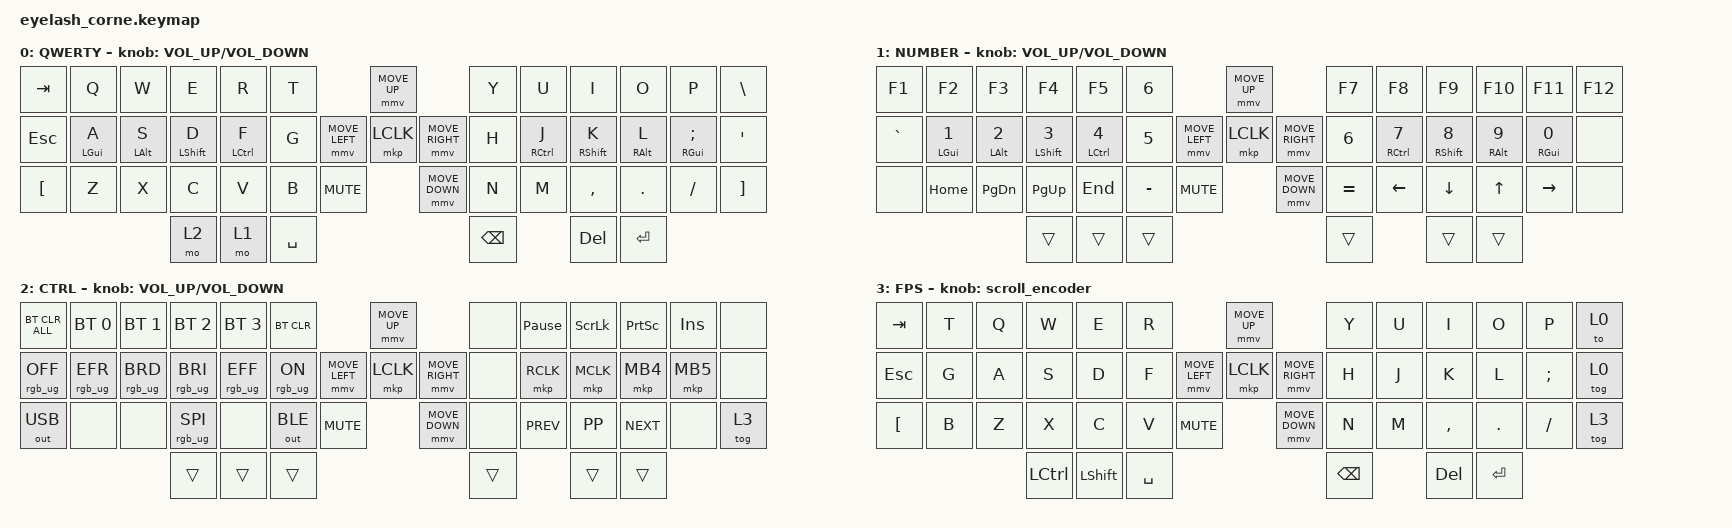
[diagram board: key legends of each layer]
#define ZMK_POINTING_DEFAULT_MOVE_VAL 300  // 600
#define ZMK_POINTING_DEFAULT_SCRL_VAL 10   // 10

#include <input/processors.dtsi>
#include <zephyr/dt-bindings/input/input-event-codes.h>
#include <behaviors.dtsi>
#include <dt-bindings/zmk/bt.h>
#include <dt-bindings/zmk/keys.h>
#include <dt-bindings/zmk/outputs.h>
#include <dt-bindings/zmk/pointing.h>
#include <dt-bindings/zmk/rgb.h>

&mmv_input_listener { input-processors = <&zip_xy_scaler 2 1>; };

&msc_input_listener { input-processors = <&zip_scroll_scaler 2 1>; };

&msc {
    acceleration-exponent = <0>;      // 0
    time-to-max-speed-ms = <100>;       // 300
    delay-ms = <0>;                   // 0
};

&mmv {
    time-to-max-speed-ms = <500>;
    acceleration-exponent = <0>;
    trigger-period-ms = <16>;
};

/ {
    behaviors {
        td0: td0 {
            compatible = "zmk,behavior-tap-dance";
            display-name = "Shift/Caps Lock Tap Dance";
            #binding-cells = <0>;
            bindings = <&kp LEFT_SHIFT>, <&kp CAPS>;
        };

        hml: hml {
            compatible = "zmk,behavior-hold-tap";
            label = "HML";
            bindings = <&kp>, <&kp>;

            #binding-cells = <2>;
            tapping-term-ms = <250>;
            quick-tap-ms = <150>;
            require-prior-idle-ms = <100>;
            flavor = "balanced";
            hold-trigger-key-positions = <7 8 9 10 11 12 22 23 24 25 26 27 36 37 38 39 40 41 45 46 47 42 43 44>;
            hold-trigger-on-release;
        };

        hmr: hmr {
            compatible = "zmk,behavior-hold-tap";
            label = "HMR";
            bindings = <&kp>, <&kp>;

            #binding-cells = <2>;
            tapping-term-ms = <250>;
            quick-tap-ms = <150>;
            require-prior-idle-ms = <100>;
            flavor = "balanced";
            hold-trigger-on-release;
            hold-trigger-key-positions = <0 1 2 3 4 5 13 14 15 16 17 18 28 29 30 31 32 33 34 42 43 44 45 46 47>;
        };
    };

    rgb_encoder: rgb_encoder {
        compatible = "zmk,behavior-sensor-rotate";
        #sensor-binding-cells = <0>;
        bindings = <&rgb_ug RGB_BRI>, <&rgb_ug RGB_BRD>;
    };

    scroll_encoder: scroll_encoder {
        compatible = "zmk,behavior-sensor-rotate";
        #sensor-binding-cells = <0>;
        bindings = <&msc SCRL_DOWN>, <&msc SCRL_UP>;

        tap-ms = <100>;
    };

    keymap {
        compatible = "zmk,keymap";

        default_layer {
            display-name = "QWERTY";
            bindings = <
&kp TAB   &kp Q           &kp W           &kp E            &kp R            &kp T                                &mmv MOVE_UP                &kp Y  &kp U            &kp I             &kp O           &kp P              &kp BSLH
&kp ESC   &hml LGUI A     &hml LALT S     &hml LSHFT D     &hml LCTRL F     &kp G                &mmv MOVE_LEFT  &mkp LCLK  &mmv MOVE_RIGHT  &kp H  &hmr RCTRL J     &hmr RSHIFT K     &hmr RALT L     &hmr RGUI SEMI     &kp SQT
&kp LBKT  &kp Z           &kp X           &kp C            &kp V            &kp B    &kp C_MUTE                  &mmv MOVE_DOWN              &kp N  &kp M            &kp COMMA         &kp DOT         &kp FSLH           &kp RBKT
                                          &mo 2            &mo 1            &kp SPACE                                                        &kp BSPC                &kp DEL           &kp ENTER
            >;

            sensor-bindings = <&inc_dec_kp C_VOLUME_UP C_VOLUME_DOWN>;
        };

        lower_layer {
            display-name = "NUMBER";
            bindings = <
&kp F1      &kp F2           &kp F3           &kp F4            &kp F5            &kp N6                                   &mmv MOVE_UP                &kp F7     &kp F8            &kp F9             &kp F10          &kp F11          &kp F12
&kp GRAVE   &hml LGUI N1     &hml LALT N2     &hml LSHFT N3     &hml LCTRL N4     &kp N5                   &mmv MOVE_LEFT  &mkp LCLK  &mmv MOVE_RIGHT  &kp N6     &hmr RCTRL N7     &hmr RSHIFT N8     &hmr RALT N9     &hmr RGUI N0     &none
&none       &kp HOME         &kp PG_DN        &kp PG_UP         &kp END           &kp MINUS    &kp C_MUTE                  &mmv MOVE_DOWN              &kp EQUAL  &kp LEFT          &kp DOWN           &kp UP           &kp RIGHT        &none
                                              &trans            &trans            &trans                                                               &trans     &trans            &trans
            >;

            sensor-bindings = <&inc_dec_kp C_VOLUME_UP C_VOLUME_DOWN>;
        };

        raise_layer {
            display-name = "CTRL";
            bindings = <
&bt BT_CLR_ALL   &bt BT_SEL 0     &bt BT_SEL 1     &bt BT_SEL 2     &bt BT_SEL 3     &bt BT_CLR                                      &mmv MOVE_UP                &none  &kp PAUSE_BREAK  &kp SLCK   &kp PSCRN   &kp INS   &none
&rgb_ug RGB_OFF  &rgb_ug RGB_EFR  &rgb_ug RGB_BRD  &rgb_ug RGB_BRI  &rgb_ug RGB_EFF  &rgb_ug RGB_ON                  &mmv MOVE_LEFT  &mkp LCLK  &mmv MOVE_RIGHT  &none  &mkp RCLK        &mkp MCLK  &mkp MB4    &mkp MB5  &none
&out OUT_USB     &none            &none            &rgb_ug RGB_SPI  &none            &out OUT_BLE    &kp C_MUTE                      &mmv MOVE_DOWN              &none  &kp C_PREV       &kp K_PP   &kp K_NEXT  &none     &tog 3
                                                   &trans           &trans           &trans                                                                      &trans &trans  &trans
            >;

            sensor-bindings = <&inc_dec_kp C_VOLUME_UP C_VOLUME_DOWN>;
        };

        gaming_layer {
            display-name = "FPS";
            bindings = <
&kp TAB   &kp T  &kp Q  &kp W  &kp E  &kp R                                &mmv MOVE_UP                &kp Y  &kp U  &kp I      &kp O    &kp P     &to 0
&kp ESC   &kp G  &kp A  &kp S  &kp D  &kp F                &mmv MOVE_LEFT  &mkp LCLK  &mmv MOVE_RIGHT  &kp H  &kp J  &kp K      &kp L    &kp SEMI  &tog 0
&kp LBKT  &kp B  &kp Z  &kp X  &kp C  &kp V    &kp C_MUTE                  &mmv MOVE_DOWN              &kp N  &kp M  &kp COMMA  &kp DOT  &kp FSLH  &tog 3
                 &kp LCTRL  &kp LSHIFT    &kp SPACE                                                    &kp BSPC      &kp DEL    &kp ENTER
            >;

            sensor-bindings = <&scroll_encoder>;
        };
    };
};
